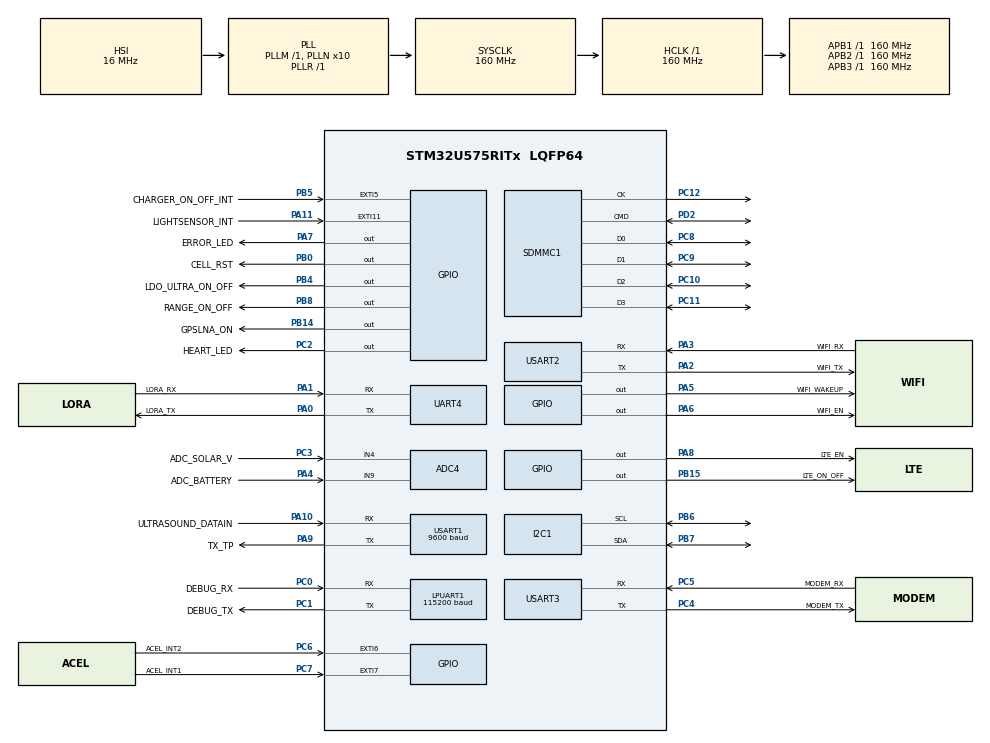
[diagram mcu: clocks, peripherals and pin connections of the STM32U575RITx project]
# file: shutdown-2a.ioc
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ADC4.Channel-0\#ChannelRegularConversion=ADC_CHANNEL_4
ADC4.Channel-1\#ChannelRegularConversion=ADC_CHANNEL_9
ADC4.ContinuousConvMode=DISABLE
ADC4.NbrOfConversion=2
ADC4.NbrOfConversionFlag=1
ADC4.OffsetNumber-0\#ChannelRegularConversion=ADC_OFFSET_NONE
ADC4.OffsetNumber-1\#ChannelRegularConversion=ADC_OFFSET_NONE
ADC4.Rank-0\#ChannelRegularConversion=1
ADC4.Rank-1\#ChannelRegularConversion=2
ADC4.RankArg-0\#ChannelRegularConversion=ADC4_REGULAR_RANK_1
ADC4.RankArg-1\#ChannelRegularConversion=ADC4_REGULAR_RANK_2
ADC4.SamplingTime-0\#ChannelRegularConversion=ADC4_SAMPLINGTIME_COMMON_1
ADC4.SamplingTime-1\#ChannelRegularConversion=ADC4_SAMPLINGTIME_COMMON_1
ADC4.SelectedChannel=ADC_CHANNEL_4|ADC_CHANNEL_9
ADC4.Sequencer=FULLY_CONFIGURABLE
CORTEX_M33_NS.userName=CORTEX_M33
I2C1.Timing=0x30909DEC
LPUART1.BaudRate=115200
LPUART1.SwapParam=UART_ADVFEATURE_SWAP_DISABLE
Mcu.Family=STM32U5
Mcu.Name=STM32U575RITx
Mcu.Package=LQFP64
NVIC.EXTI5_IRQn=true\:0\:0\:false\:false\:true\:true\:true\:true
NVIC.LPUART1_IRQn=true\:0\:0\:false\:false\:true\:true\:true\:true
NVIC.PriorityGroup=NVIC_PRIORITYGROUP_4
NVIC.SDMMC1_IRQn=true\:0\:0\:false\:false\:true\:true\:true\:true
NVIC.TIM6_IRQn=true\:15\:0\:true\:false\:true\:false\:true\:true
NVIC.TimeBase=TIM6_IRQn
NVIC.TimeBaseIP=TIM6
NVIC.UART4_IRQn=true\:0\:0\:false\:false\:true\:true\:true\:true
NVIC.USART1_IRQn=true\:0\:0\:false\:false\:true\:true\:true\:true
NVIC.USART2_IRQn=true\:0\:0\:false\:false\:true\:true\:true\:true
NVIC.USART3_IRQn=true\:0\:0\:false\:false\:true\:true\:true\:true
PA0.GPIO_Label=LORA_TX
PA0.Mode=Asynchronous
PA0.Signal=UART4_TX
PA1.GPIO_Label=LORA_RX
PA1.Mode=Asynchronous
PA1.Signal=UART4_RX
PA10.GPIO_Label=ULTRASOUND_DATAIN
PA10.Mode=Asynchronous
PA10.Signal=USART1_RX
PA11.GPIO_Label=LIGHTSENSOR_INT
PA11.Signal=GPXTI11
PA13\ (JTMS/SWDIO).Mode=Serial_Wire
PA13\ (JTMS/SWDIO).Signal=DEBUG_JTMS-SWDIO
PA14\ (JTCK/SWCLK).Mode=Serial_Wire
PA14\ (JTCK/SWCLK).Signal=DEBUG_JTCK-SWCLK
PA2.GPIO_Label=WIFI_TX
PA2.Mode=Asynchronous
PA2.Signal=USART2_TX
PA3.GPIO_Label=WIFI_RX
PA3.Mode=Asynchronous
PA3.Signal=USART2_RX
PA4.GPIO_Label=ADC_BATTERY
PA4.Mode=IN9
PA4.Signal=ADC4_IN9
PA5.GPIO_Label=WIFI_WAKEUP
PA5.Signal=GPIO_Output
PA6.GPIO_Label=WIFI_EN
PA6.Signal=GPIO_Output
PA7.GPIO_Label=ERROR_LED
PA7.Signal=GPIO_Output
PA8.GPIO_Label=LTE_EN
PA8.Signal=GPIO_Output
PA9.GPIO_Label=TX_TP
PA9.Mode=Asynchronous
PA9.Signal=USART1_TX
PB0.GPIO_Label=CELL_RST
PB0.Signal=GPIO_Output
PB14.GPIO_Label=GPSLNA_ON
PB14.Signal=GPIO_Output
PB15.GPIO_Label=LTE_ON_OFF
PB15.PinState=GPIO_PIN_SET
PB15.Signal=GPIO_Output
PB4\ (NJTRST).GPIO_Label=LDO_ULTRA_ON_OFF
PB4\ (NJTRST).Signal=GPIO_Output
PB5.GPIO_Label=CHARGER_ON_OFF_INT
PB5.Signal=GPXTI5
PB6.Mode=I2C
PB6.Signal=I2C1_SCL
PB7.Mode=I2C
PB7.Signal=I2C1_SDA
PB8.GPIO_Label=RANGE_ON_OFF
PB8.Signal=GPIO_Output
PC0.GPIO_Label=DEBUG_RX
PC0.Mode=Asynchronous
PC0.Signal=LPUART1_RX
PC1.GPIO_Label=DEBUG_TX
PC1.Mode=Asynchronous
PC1.Signal=LPUART1_TX
PC10.Mode=SD_4_bits_Wide_bus
PC10.Signal=SDMMC1_D2
PC11.Mode=SD_4_bits_Wide_bus
PC11.Signal=SDMMC1_D3
PC12.Mode=SD_4_bits_Wide_bus
PC12.Signal=SDMMC1_CK
PC14-OSC32_IN\ (PC14).Mode=LSE-External-Oscillator
PC14-OSC32_IN\ (PC14).Signal=RCC_OSC32_IN
PC15-OSC32_OUT\ (PC15).Mode=LSE-External-Oscillator
PC15-OSC32_OUT\ (PC15).Signal=RCC_OSC32_OUT
PC2.GPIO_Label=HEART_LED
PC2.Signal=GPIO_Output
PC3.GPIO_Label=ADC_SOLAR_V
PC3.Mode=IN4
PC3.Signal=ADC4_IN4
PC4.GPIO_Label=MODEM_TX
PC4.Mode=Asynchronous
PC4.Signal=USART3_TX
PC5.GPIO_Label=MODEM_RX
PC5.Mode=Asynchronous
PC5.Signal=USART3_RX
PC6.GPIO_Label=ACEL_INT2
PC6.Signal=GPXTI6
PC7.GPIO_Label=ACEL_INT1
PC7.Signal=GPXTI7
PC8.Mode=SD_4_bits_Wide_bus
PC8.Signal=SDMMC1_D0
PC9.Mode=SD_4_bits_Wide_bus
PC9.Signal=SDMMC1_D1
PD2.Mode=SD_4_bits_Wide_bus
PD2.Signal=SDMMC1_CMD
PH0-OSC_IN\ (PH0).Mode=HSE-External-Oscillator
PH0-OSC_IN\ (PH0).Signal=RCC_OSC_IN
PH1-OSC_OUT\ (PH1).Mode=HSE-External-Oscillator
PH1-OSC_OUT\ (PH1).Signal=RCC_OSC_OUT
ProjectManager.HeapSize=0x200
ProjectManager.StackSize=0x400
ProjectManager.TargetToolchain=STM32CubeIDE
RCC.ADCFreq_Value=16000000
RCC.AHBFreq_Value=160000000
RCC.APB1Freq_Value=160000000
RCC.APB1TimFreq_Value=160000000
RCC.APB2Freq_Value=160000000
RCC.APB2TimFreq_Value=160000000
RCC.APB3Freq_Value=160000000
RCC.CortexFreq_Value=160000000
RCC.EPOD_VALUE=16000000
RCC.HCLKFreq_Value=160000000
RCC.HSE_VALUE=24000000
RCC.HSI48_VALUE=48000000
RCC.HSI_VALUE=16000000
RCC.LPUART1CLockSelectionVirtual=RCC_LPUART1CLKSOURCE_HSI
RCC.LSIDIV_VALUE=32000
RCC.MSIClockRange=RCC_MSIRANGE_0
RCC.MSI_VALUE=48000000
RCC.PLL1P=4
RCC.PLL1Q=1
RCC.PLL1R=1
RCC.PLL2FRACN=0
RCC.PLL3FRACN=0
RCC.PLLFRACN=0
RCC.PLLN=10
RCC.PLLSourceVirtual=RCC_PLLSOURCE_HSI
RCC.SYSCLKFreq_VALUE=160000000
RCC.SYSCLKSource=RCC_SYSCLKSOURCE_PLLCLK
RCC.UART4CLockSelectionVirtual=RCC_UART4CLKSOURCE_HSI
RCC.USART1CLockSelectionVirtual=RCC_USART1CLKSOURCE_HSI
RCC.USART2CLockSelectionVirtual=RCC_USART2CLKSOURCE_HSI
RCC.USART3CLockSelectionVirtual=RCC_USART3CLKSOURCE_HSI
RCC.USBFreq_Value=48000000
RCC.VCOOutputFreq_Value=160000000
RTC.Alarm-Alarm\ A=RTC_ALARM_A
UART4.TxPinLevelInvertParam=UART_ADVFEATURE_TXINV_DISABLE
USART1.BaudRate=9600
USART1.SwapParam=ADVFEATURE_SWAP_DISABLE
USART1.VirtualMode-Asynchronous=VM_ASYNC
USART2.DataInvertParam=ADVFEATURE_DATAINV_DISABLE
USART2.OverrunDisableParam=ADVFEATURE_OVERRUN_DISABLE
USART2.SwapParam=ADVFEATURE_SWAP_ENABLE
USART2.TxPinLevelInvertParam=ADVFEATURE_TXINV_DISABLE
USART2.VirtualMode-Asynchronous=VM_ASYNC
USART3.OverrunDisableParam=ADVFEATURE_OVERRUN_DISABLE
USART3.SwapParam=ADVFEATURE_SWAP_ENABLE
USART3.TxPinLevelInvertParam=ADVFEATURE_TXINV_DISABLE
USART3.VirtualMode-Asynchronous=VM_ASYNC
VP_ICACHE_VS_ENABLE_ICACHE_MEMORY.Mode=Memoryregions
VP_ICACHE_VS_ICACHE.Mode=DirectMappedCache
VP_LPBAMQUEUE_VS_QUEUE.Mode=QUEUEMODE
VP_LPBAM_VS_SIG1.Mode=SmartRun
VP_LPBAM_VS_SIG4.Mode=LPDMA1
VP_MEMORYMAP_VS_MEMORYMAP.Mode=CurAppReg
VP_PWR_VS_DBSignals.Mode=DisableDeadBatterySignals
VP_PWR_VS_LPOM.Mode=PowerOptimisation
VP_PWR_VS_SECSignals.Mode=Security/Privilege
VP_PWR_V_PVD_IN.Mode=Mode_PVD_Int
VP_PWR_Vdda.Mode=isolationVdda
VP_RTC_VS_RTC_Activate.Mode=RTC_Enabled
VP_RTC_VS_RTC_Alarm_A_Intern.Mode=Alarm A
VP_RTC_VS_RTC_Calendar.Mode=RTC_Calendar
VP_SYS_VS_tim6.Mode=TIM6
board=custom

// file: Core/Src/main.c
/* USER CODE BEGIN Header */
/**
  ******************************************************************************
  * @file           : main.c
  * @brief          : Main program body
  ******************************************************************************
  * @attention
  *
  * Copyright (c) 2024 STMicroelectronics.
  * All rights reserved.
  *
  * This software is licensed under terms that can be found in the LICENSE file
  * in the root directory of this software component.
  * If no LICENSE file comes with this software, it is provided AS-IS.
  *
  ******************************************************************************
  */
/* USER CODE END Header */
#include "main.h"
#include "adc.h"
#include "i2c.h"
#include "icache.h"
#include "usart.h"
#include "memorymap.h"
#include "rtc.h"
#include "sdmmc.h"
#include "gpio.h"

/* USER CODE BEGIN Includes */
#include <stdio.h>
#include <string.h>
#include "stm32u5xx_ll_icache.h"
#include "stm32u5xx_ll_pwr.h"
#include "stm32u5xx_ll_crs.h"
#include "stm32u5xx_ll_rcc.h"
#include "stm32u5xx_ll_bus.h"
#include "stm32u5xx_ll_system.h"
#include "stm32u5xx_ll_exti.h"
#include "stm32u5xx_ll_cortex.h"
#include "stm32u5xx_ll_utils.h"
#include "stm32u5xx_ll_dma.h"
#include "stm32u5xx_ll_gpio.h"
/* USER CODE END Includes */

/* USER CODE BEGIN PD */
char TransmitBuffer[1024];
void serialPutStr(const char *data);
void system_powersave(void);
extern UART_HandleTypeDef hlpuart1;
extern UART_HandleTypeDef huart4;
extern UART_HandleTypeDef huart1;
extern UART_HandleTypeDef huart2;
extern UART_HandleTypeDef huart3;
extern I2C_HandleTypeDef hi2c1;
extern SD_HandleTypeDef hsd1;
extern RTC_HandleTypeDef hrtc;
/* USER CODE END PD */

void SystemClock_Config(void);
static void SystemPower_Config(void);

int main(void)
{

  /* MCU Configuration--------------------------------------------------------*/

  /* Reset of all peripherals, Initializes the Flash interface and the Systick. */
  HAL_Init();

  /* Configure the system clock */
  SystemClock_Config();

  /* Configure the System Power */
  SystemPower_Config();

  /* Initialize all configured peripherals */
  MX_GPIO_Init();
  MX_UART4_Init();
  MX_USART2_UART_Init();
  MX_USART3_UART_Init();
  MX_SDMMC1_SD_Init();
  MX_LPUART1_UART_Init();
  MX_ADC4_Init();
  MX_USART1_UART_Init();
  MX_ICACHE_Init();
  MX_I2C1_Init();
  MX_RTC_Init();
  /* USER CODE BEGIN 2 */
  HAL_Delay(3000);
  serialPutStr("hello!\n");
  HAL_Delay(3000);
  system_powersave();
  /* USER CODE END 2 */

  /* Infinite loop */
  while (1)
  {

  }
}

void SystemClock_Config(void)
{
  RCC_OscInitTypeDef RCC_OscInitStruct = {0};
  RCC_ClkInitTypeDef RCC_ClkInitStruct = {0};

  /** Configure the main internal regulator output voltage
  */
  if (HAL_PWREx_ControlVoltageScaling(PWR_REGULATOR_VOLTAGE_SCALE1) != HAL_OK)
  {
    Error_Handler();
  }

  /** Initializes the CPU, AHB and APB buses clocks
  */
  RCC_OscInitStruct.OscillatorType = RCC_OSCILLATORTYPE_HSI|RCC_OSCILLATORTYPE_LSI;
  RCC_OscInitStruct.HSIState = RCC_HSI_ON;
  RCC_OscInitStruct.HSICalibrationValue = RCC_HSICALIBRATION_DEFAULT;
  RCC_OscInitStruct.LSIState = RCC_LSI_ON;
  RCC_OscInitStruct.LSIDiv = RCC_LSI_DIV1;
  RCC_OscInitStruct.PLL.PLLState = RCC_PLL_ON;
  RCC_OscInitStruct.PLL.PLLSource = RCC_PLLSOURCE_HSI;
  RCC_OscInitStruct.PLL.PLLMBOOST = RCC_PLLMBOOST_DIV1;
  RCC_OscInitStruct.PLL.PLLM = 1;
  RCC_OscInitStruct.PLL.PLLN = 10;
  RCC_OscInitStruct.PLL.PLLP = 4;
  RCC_OscInitStruct.PLL.PLLQ = 1;
  RCC_OscInitStruct.PLL.PLLR = 1;
  RCC_OscInitStruct.PLL.PLLRGE = RCC_PLLVCIRANGE_1;
  RCC_OscInitStruct.PLL.PLLFRACN = 0;
  if (HAL_RCC_OscConfig(&RCC_OscInitStruct) != HAL_OK)
  {
    Error_Handler();
  }

  /** Initializes the CPU, AHB and APB buses clocks
  */
  RCC_ClkInitStruct.ClockType = RCC_CLOCKTYPE_HCLK|RCC_CLOCKTYPE_SYSCLK
                              |RCC_CLOCKTYPE_PCLK1|RCC_CLOCKTYPE_PCLK2
                              |RCC_CLOCKTYPE_PCLK3;
  RCC_ClkInitStruct.SYSCLKSource = RCC_SYSCLKSOURCE_PLLCLK;
  RCC_ClkInitStruct.AHBCLKDivider = RCC_SYSCLK_DIV1;
  RCC_ClkInitStruct.APB1CLKDivider = RCC_HCLK_DIV1;
  RCC_ClkInitStruct.APB2CLKDivider = RCC_HCLK_DIV1;
  RCC_ClkInitStruct.APB3CLKDivider = RCC_HCLK_DIV1;

  if (HAL_RCC_ClockConfig(&RCC_ClkInitStruct, FLASH_LATENCY_4) != HAL_OK)
  {
    Error_Handler();
  }
}

/**
  * @brief Power Configuration
  * @retval None
  */
static void SystemPower_Config(void)
{
  PWR_PVDTypeDef sConfigPVD = {0};

  /*
   * PVD Configuration
   */
  sConfigPVD.PVDLevel = PWR_PVDLEVEL_0;
  sConfigPVD.Mode = PWR_PVD_MODE_NORMAL;
  HAL_PWR_ConfigPVD(&sConfigPVD);

  /*
   * Enable the PVD Output
   */
  HAL_PWR_EnablePVD();

  /*
   * Disable the internal Pull-Up in Dead Battery pins of UCPD peripheral
   */
  HAL_PWREx_DisableUCPDDeadBattery();
}

/* USER CODE BEGIN 4 */
void serialPutStr(const char *data) {
  sprintf(TransmitBuffer,"%s",data);
  HAL_UART_Transmit(&hlpuart1,(uint8_t *)TransmitBuffer, strlen(TransmitBuffer), 150);
}

void system_powersave(void) {
	/* CELL/WiFi subsystem shutdown using FET switch */
	HAL_GPIO_WritePin(LTE_ON_OFF_GPIO_Port, LTE_ON_OFF_Pin, GPIO_PIN_RESET);

	HAL_UART_MspDeInit(&hlpuart1);
	HAL_UART_MspDeInit(&huart1);
	HAL_UART_MspDeInit(&huart2);
	HAL_UART_MspDeInit(&huart3);
	HAL_UART_MspDeInit(&huart4);
	HAL_I2C_MspDeInit(&hi2c1);
	HAL_SD_MspDeInit(&hsd1);
	HAL_RTC_MspDeInit(&hrtc);

	HAL_SuspendTick();

	__HAL_RCC_GPIOC_CLK_DISABLE();
	__HAL_RCC_GPIOH_CLK_DISABLE();
	__HAL_RCC_GPIOA_CLK_DISABLE();
	__HAL_RCC_GPIOB_CLK_DISABLE();
	__HAL_RCC_GPIOD_CLK_DISABLE();

	HAL_PWREx_EnterSTOP3Mode(PWR_STOPENTRY_WFI);
}
/* USER CODE END 4 */

void HAL_TIM_PeriodElapsedCallback(TIM_HandleTypeDef *htim)
{
  if (htim->Instance == TIM6) {
    HAL_IncTick();
  }
}

void Error_Handler(void)
{
  __disable_irq();
  while (1)
  {
  }
}
